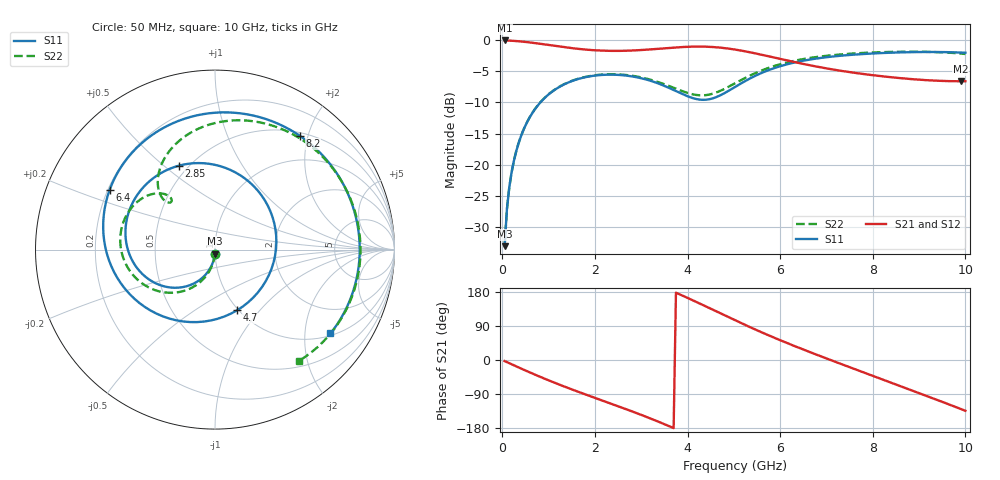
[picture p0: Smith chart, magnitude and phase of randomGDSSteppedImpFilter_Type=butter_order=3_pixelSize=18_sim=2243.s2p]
! freq	dB(S11)	phase(S11)	dB(S12)	phase(S12)
!  dB(S21)	phase(S21)	dB(S22)	phase(S22)
!S-par simulation data
#  GHz  S  DB  R 50
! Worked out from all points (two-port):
!   200 points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, 50 MHz to 10 GHz, reference 50 ohm
!   highest |S21| = -0.01 dB at 50 MHz (marker M1); lowest = -6.6 dB at 9.9 GHz (marker M2)
!   |S21| within 3 dB of the highest: start of sweep to 6.017 GHz
!   lowest |S11| = -33.1 dB at 50 MHz (marker M3), VSWR 1.05, Z = 49.9 - j2.2 ohm
!   |S11| at or under -10 dB: start of sweep to 821.6 MHz
!   |S22| runs from -33.1 to -1.8 dB; largest |S21 - S12| = 0
!   S11 on the Smith chart (normalised r, x): 50 MHz: 1.00, -0.04; 2.85 GHz: 0.45, +0.56; 4.7 GHz: 0.98, -0.77; 6.4 GHz: 0.21, +0.25; 8.2 GHz: 0.55, +1.87; 10 GHz: 1.06, -2.70
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0.05  -33.13 -92.4  -0.01 -2.9  -0.01 -2.9  -33.12 -92.0
0.1  -27.18 -95.3  -0.03 -5.7  -0.03 -5.7  -27.17 -94.5
0.2  -21.28 -101.3  -0.06 -11.2  -0.06 -11.2  -21.27 -99.8
0.5  -13.71 -119.4  -0.25 -27.7  -0.25 -27.7  -13.69 -115.6
1.1  -8.13 -153.1  -0.85 -58.6  -0.85 -58.6  -8.10 -144.2
1.75  -6.00 173.0  -1.45 -88.9  -1.45 -88.9  -5.96 -171.0
2.3  -5.52 144.5  -1.68 -113.2  -1.68 -113.2  -5.46 169.1
2.85  -5.86 113.3  -1.62 -137.8  -1.62 -137.8  -5.75 151.3
3.4  -7.03 75.4  -1.34 -164.2  -1.34 -164.2  -6.80 136.9
4.1  -9.26 6.6  -1.01 158.3  -1.01 158.3  -8.66 131.0
4.7  -8.87 -70.1  -1.17 123.7  -1.17 123.7  -8.15 135.8
5.05  -7.40 -108.9  -1.51 103.5  -1.51 103.5  -6.81 133.4
5.35  -6.13 -136.5  -1.92 86.6  -1.92 86.6  -5.66 127.3
5.75  -4.79 -167.5  -2.56 65.1  -2.56 65.1  -4.43 115.6
6.4  -3.42 150.6  -3.64 32.5  -3.64 32.5  -3.14 92.9
6.7  -3.02 133.1  -4.10 18.1  -4.10 18.1  -2.77 81.9
7.45  -2.38 92.3  -5.06 -16.7  -5.06 -16.7  -2.18 53.6
8.2  -2.04 53.2  -5.78 -50.9  -5.78 -50.9  -1.90 24.5
8.35  -1.99 45.6  -5.90 -57.8  -5.90 -57.8  -1.87 18.6
9.15  -1.87 5.3  -6.40 -94.3  -6.40 -94.3  -1.85 -14.1
9.9  -1.96 -31.2  -6.58 -129.2  -6.58 -129.2  -2.12 -47.9
10  -1.99 -36.0  -6.58 -134.0  -6.58 -134.0  -2.19 -52.8
